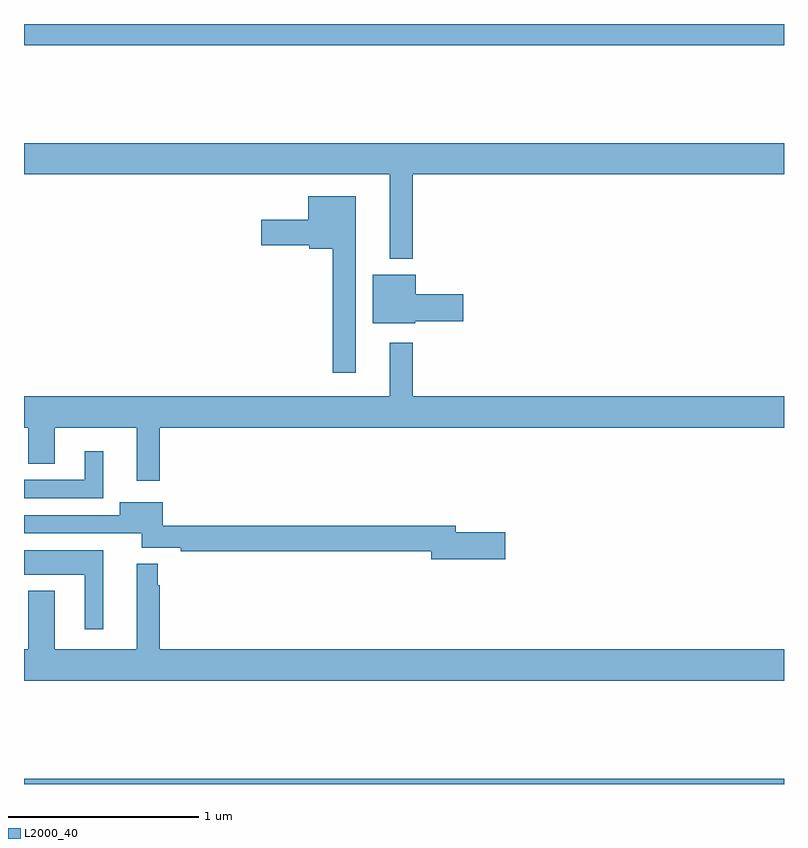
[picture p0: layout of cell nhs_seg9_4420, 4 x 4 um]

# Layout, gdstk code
import gdstk
lib = gdstk.Library(unit=1e-6, precision=1e-09)
def R(c, l, rs):  # rectangles x0, y0, x1, y1
    for r in rs: c.add(gdstk.rectangle(r[:2], r[2:], *l))
def P(c, l, *ps):  # polygons
    for p in ps: c.add(gdstk.Polygon(p, *l))
L2000_40 = (2000, 40)

nhs_seg9_4420 = lib.new_cell('nhs_seg9_4420')
R(nhs_seg9_4420, L2000_40, [(363,1238.5,367,1238.528), (363,1242.388,367,1242.5)])
P(nhs_seg9_4420, L2000_40, [(365.047,1241.708),(367,1241.708),(367,1241.872),(363,1241.872),(363,1241.708),(364.925,1241.708),(364.925,1241.264),(365.047,1241.264)],
  [(364.747,1241.593),(364.496,1241.593),(364.496,1241.47),(364.248,1241.47),(364.248,1241.336),(364.5,1241.336),(364.5,1241.318),(364.626,1241.318),(364.626,1240.665),(364.747,1240.665)],
  [(365.058,1240.936),(365.311,1240.936),(365.311,1241.078),(365.062,1241.078),(365.062,1241.179),(364.835,1241.179),(364.835,1240.925),(365.058,1240.925)],
  [(363.715,1240.376),(367,1240.376),(367,1240.54),(365.047,1240.54),(365.047,1240.822),(364.925,1240.822),(364.925,1240.54),(363,1240.54),(363,1240.376),(363.023,1240.376),(363.023,1240.186),(363.163,1240.186),(363.163,1240.376),(363.593,1240.376),(363.593,1240.095),(363.715,1240.095)],
  [(363.418,1240.252),(363.32,1240.252),(363.32,1240.101),(363,1240.101),(363,1240.005),(363.418,1240.005)],
  [(365.533,1239.824),(365.272,1239.824),(365.272,1239.86),(363.73,1239.86),(363.73,1239.982),(363.503,1239.982),(363.503,1239.915),(363,1239.915),(363,1239.819),(363.62,1239.819),(363.62,1239.744),(363.826,1239.744),(363.826,1239.724),(365.144,1239.724),(365.144,1239.682),(365.533,1239.682)],
  [(363.418,1239.73),(363,1239.73),(363,1239.602),(363.32,1239.602),(363.32,1239.315),(363.418,1239.315)],
  [(367,1239.208),(363.715,1239.208),(363.715,1239.545),(363.704,1239.545),(363.704,1239.658),(363.593,1239.658),(363.593,1239.208),(363.163,1239.208),(363.163,1239.517),(363.023,1239.517),(363.023,1239.208),(363,1239.208),(363,1239.044),(367,1239.044)])

lib.write_gds('nhs_seg9_4420.gds')
